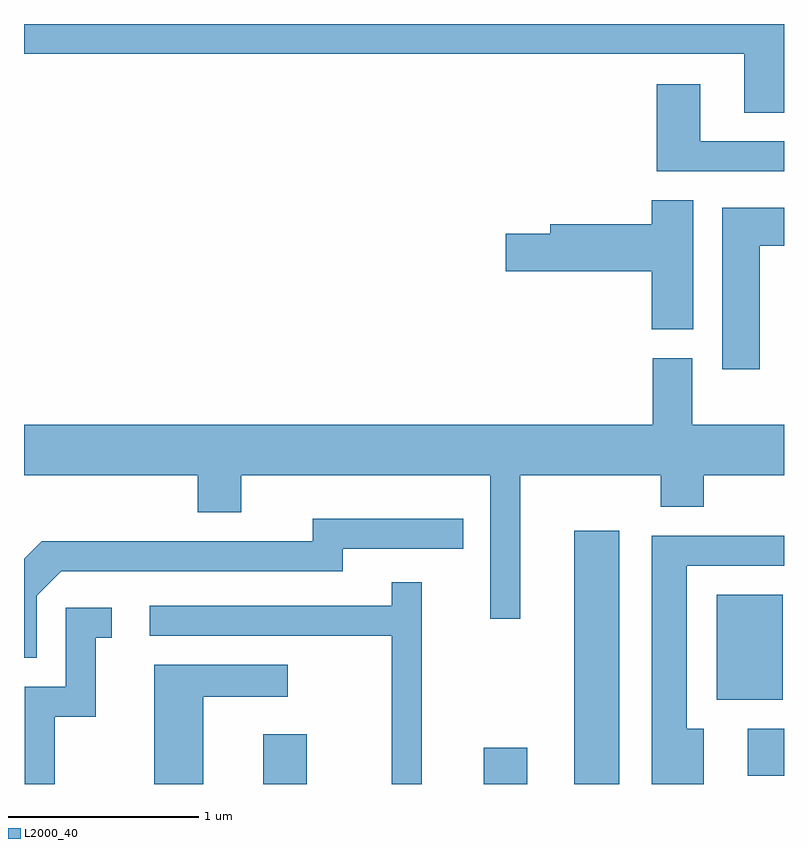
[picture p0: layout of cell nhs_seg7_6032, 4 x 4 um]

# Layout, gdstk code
import gdstk
lib = gdstk.Library(unit=1e-6, precision=1e-09)
def R(c, l, rs):  # rectangles x0, y0, x1, y1
    for r in rs: c.add(gdstk.rectangle(r[:2], r[2:], *l))
def P(c, l, *ps):  # polygons
    for p in ps: c.add(gdstk.Polygon(p, *l))
L2000_40 = (2000, 40)

nhs_seg7_6032 = lib.new_cell('nhs_seg7_6032')
R(nhs_seg7_6032, L2000_40, [(370.871,1708.252,371.099,1708.514), (372.031,1708.252,372.259,1708.444), (372.506,1708.252,372.744,1709.584), (373.421,1708.296,373.611,1708.544), (373.256,1708.696,373.604,1709.249)])
P(nhs_seg7_6032, L2000_40, [(373.611,1712.252),(369.611,1712.252),(369.611,1712.096),(373.401,1712.096),(373.401,1711.786),(373.611,1711.786)],
  [(373.611,1711.634),(373.169,1711.634),(373.169,1711.934),(372.941,1711.934),(372.941,1711.476),(373.611,1711.476)],
  [(373.134,1711.324),(372.916,1711.324),(372.916,1711.199),(372.381,1711.199),(372.381,1711.149),(372.146,1711.149),(372.146,1710.951),(372.916,1710.951),(372.916,1710.646),(373.134,1710.646)],
  [(373.484,1711.086),(373.611,1711.086),(373.611,1711.284),(373.286,1711.284),(373.286,1710.436),(373.484,1710.436)],
  [(372.224,1709.876),(372.961,1709.876),(372.961,1709.711),(373.189,1709.711),(373.189,1709.876),(373.611,1709.876),(373.611,1710.144),(373.129,1710.144),(373.129,1710.494),(372.921,1710.494),(372.921,1710.144),(369.611,1710.144),(369.611,1709.876),(370.526,1709.876),(370.526,1709.681),(370.754,1709.681),(370.754,1709.876),(372.066,1709.876),(372.066,1709.123),(372.224,1709.123)],
  [(369.679,1709.244),(369.807,1709.371),(371.289,1709.371),(371.289,1709.491),(371.923,1709.491),(371.923,1709.649),(371.131,1709.649),(371.131,1709.529),(369.704,1709.529),(369.611,1709.437),(369.611,1708.916),(369.679,1708.916)],
  [(373.189,1708.544),(373.099,1708.544),(373.099,1709.401),(373.611,1709.401),(373.611,1709.559),(372.916,1709.559),(372.916,1708.252),(373.189,1708.252)],
  [(371.704,1709.313),(371.546,1709.313),(371.546,1709.189),(370.273,1709.189),(370.273,1709.031),(371.546,1709.031),(371.546,1708.252),(371.704,1708.252)],
  [(369.774,1708.606),(369.989,1708.606),(369.989,1709.021),(370.073,1709.021),(370.073,1709.179),(369.831,1709.179),(369.831,1708.764),(369.616,1708.764),(369.616,1708.252),(369.774,1708.252)],
  [(370.554,1708.711),(370.998,1708.711),(370.998,1708.879),(370.296,1708.879),(370.296,1708.252),(370.554,1708.252)])

lib.write_gds('nhs_seg7_6032.gds')
